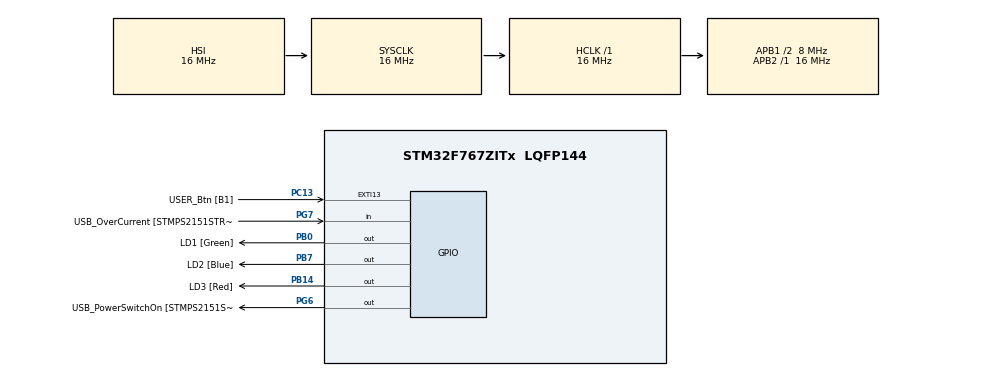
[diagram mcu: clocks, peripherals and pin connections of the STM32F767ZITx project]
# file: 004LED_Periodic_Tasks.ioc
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Mcu.Family=STM32F7
Mcu.Name=STM32F767ZITx
Mcu.Package=LQFP144
NVIC.PriorityGroup=NVIC_PRIORITYGROUP_4
NVIC.TIM6_DAC_IRQn=true\:15\:0\:false\:false\:true\:false\:true\:true
NVIC.TimeBase=TIM6_DAC_IRQn
NVIC.TimeBaseIP=TIM6
PA1.GPIO_Label=RMII_REF_CLK [LAN8742A-CZ-TR_REFCLK0]
PA1.Signal=ETH_REF_CLK
PA10.GPIO_Label=USB_ID
PA10.Signal=USB_OTG_FS_ID
PA11.GPIO_Label=USB_DM
PA11.Signal=USB_OTG_FS_DM
PA12.GPIO_Label=USB_DP
PA12.Signal=USB_OTG_FS_DP
PA13.GPIO_Label=TMS
PA13.Signal=SYS_JTMS-SWDIO
PA14.GPIO_Label=TCK
PA14.Signal=SYS_JTCK-SWCLK
PA2.GPIO_Label=RMII_MDIO [LAN8742A-CZ-TR_MDIO]
PA2.Signal=ETH_MDIO
PA7.GPIO_Label=RMII_CRS_DV [LAN8742A-CZ-TR_CRS_DV]
PA7.Signal=ETH_CRS_DV
PA8.GPIO_Label=USB_SOF [TP1]
PA8.Signal=USB_OTG_FS_SOF
PA9.GPIO_Label=USB_VBUS
PA9.Signal=USB_OTG_FS_VBUS
PB0.GPIO_Label=LD1 [Green]
PB0.Signal=GPIO_Output
PB13.GPIO_Label=RMII_TXD1 [LAN8742A-CZ-TR_TXD1]
PB13.Signal=ETH_TXD1
PB14.GPIO_Label=LD3 [Red]
PB14.Signal=GPIO_Output
PB3.GPIO_Label=SW0
PB3.Signal=SYS_JTDO-SWO
PB7.GPIO_Label=LD2 [Blue]
PB7.Signal=GPIO_Output
PC1.GPIO_Label=RMII_MDC [LAN8742A-CZ-TR_MDC]
PC1.Signal=ETH_MDC
PC13.GPIO_Label=USER_Btn [B1]
PC13.Signal=GPXTI13
PC14/OSC32_IN.Signal=RCC_OSC32_IN
PC15/OSC32_OUT.Signal=RCC_OSC32_OUT
PC4.GPIO_Label=RMII_RXD0 [LAN8742A-CZ-TR_RXD0]
PC4.Signal=ETH_RXD0
PC5.GPIO_Label=RMII_RXD1 [LAN8742A-CZ-TR_RXD1]
PC5.Signal=ETH_RXD1
PD8.GPIO_Label=STLK_RX [STM32F103CBT6_PA3]
PD8.Signal=USART3_TX
PD9.GPIO_Label=STLK_TX [STM32F103CBT6_PA2]
PD9.Signal=USART3_RX
PG11.GPIO_Label=RMII_TX_EN [LAN8742A-CZ-TR_TXEN]
PG11.Signal=ETH_TX_EN
PG13.GPIO_Label=RMII_TXD0 [LAN8742A-CZ-TR_TXD0]
PG13.Signal=ETH_TXD0
PG6.GPIO_Label=USB_PowerSwitchOn [STMPS2151STR_EN]
PG6.Signal=GPIO_Output
PG7.GPIO_Label=USB_OverCurrent [STMPS2151STR_FAULT]
PG7.Signal=GPIO_Input
PH0/OSC_IN.GPIO_Label=MCO [STM32F103CBT6_PA8]
PH0/OSC_IN.Signal=RCC_OSC_IN
PH1/OSC_OUT.Signal=RCC_OSC_OUT
ProjectManager.HeapSize=0x200
ProjectManager.StackSize=0x400
ProjectManager.TargetToolchain=STM32CubeIDE
RCC.48MHZClocksFreq_Value=24000000
RCC.AHBFreq_Value=16000000
RCC.APB1CLKDivider=RCC_HCLK_DIV2
RCC.APB1Freq_Value=8000000
RCC.APB1TimFreq_Value=16000000
RCC.APB2Freq_Value=16000000
RCC.APB2TimFreq_Value=16000000
RCC.CortexFreq_Value=16000000
RCC.HCLKFreq_Value=16000000
RCC.HSE_VALUE=16000000
RCC.HSI_VALUE=16000000
RCC.LSE_VALUE=32768
RCC.PLLMUL=RCC_PLL_MUL9
RCC.PRESCALERUSB=RCC_USBCLKSOURCE_PLL_DIV1_5
RCC.SYSCLKFreq_VALUE=16000000
RCC.SYSCLKSourceVirtual=RCC_SYSCLKSOURCE_PLLCLK
RCC.USBFreq_Value=96000000
RCC.VCOOutputFreq_Value=192000000
VP_SYS_VS_tim6.Mode=TIM6
board=NUCLEO-F767ZI

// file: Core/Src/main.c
/* USER CODE BEGIN Header */
/**
  ******************************************************************************
  * @file           : main.c
  * @brief          : Main program body
  ******************************************************************************
  * @attention
  *
  * Copyright (c) 2024 STMicroelectronics.
  * All rights reserved.
  *
  * This software is licensed under terms that can be found in the LICENSE file
  * in the root directory of this software component.
  * If no LICENSE file comes with this software, it is provided AS-IS.
  *
  ******************************************************************************
  */
/* USER CODE END Header */
#include "main.h"

/* USER CODE BEGIN Includes */
#include "FreeRTOS.h"
#include "task.h"
#include <stdio.h>
/* USER CODE END Includes */

/* USER CODE BEGIN PV */
#define DWT_CTRL	(*(volatile uint32_t*)0xE0001000)
/* USER CODE END PV */

void SystemClock_Config(void);
static void MX_GPIO_Init(void);
/* USER CODE BEGIN PFP */
static void led_green_handler(void* parameters);
static void led_red_handler(void* parameters);
static void led_blue_handler(void* parameters);
/* USER CODE END PFP */

int main(void)
{

  /* MCU Configuration--------------------------------------------------------*/

  /* Reset of all peripherals, Initializes the Flash interface and the Systick. */
  HAL_Init();

  /* USER CODE BEGIN Init */
  TaskHandle_t led_green_handle;
  TaskHandle_t led_red_handle;
  TaskHandle_t led_blue_handle;

  BaseType_t status;
  /* USER CODE END Init */

  /* Configure the system clock */
  SystemClock_Config();

  /* Initialize all configured peripherals */
  MX_GPIO_Init();
  /* USER CODE BEGIN 2 */
  // Enable the CYCCNT counter
    CoreDebug->DEMCR |= CoreDebug_DEMCR_TRCENA_Msk;

    DWT->LAR = 0xC5ACCE55;

    DWT->CYCCNT = 0;

    DWT->CTRL |= DWT_CTRL_CYCCNTENA_Msk;

  // Start the SEGGER recorder
  SEGGER_SYSVIEW_Conf();
  SEGGER_SYSVIEW_Start();

  printf("BEGINNING RTOS!\n");

  status = xTaskCreate(led_green_handler, "LED_green_task", 200, "Hello World from LED_green_task", 2, &led_green_handle);
  configASSERT(status == pdPASS);

  status = xTaskCreate(led_red_handler, "LED_red_task", 200, "Hello World from LED_red_task", 2, &led_red_handle);
  configASSERT(status == pdPASS);

  status = xTaskCreate(led_blue_handler, "LED_blue_task", 200, "Hello World from LED_blue_task", 2, &led_blue_handle);
  configASSERT(status == pdPASS);

  // Start the freeRTOS scheduler
  vTaskStartScheduler();

  //if the control comes here, then the launch of the scheduler has failed due to insufficient memory in heap
  printf("INSUFFUCIENT MEMORY IN HEAP!\n");
  /* USER CODE END 2 */

  /* Infinite loop */
  while (1)
  {

  }
}

void SystemClock_Config(void)
{
  RCC_OscInitTypeDef RCC_OscInitStruct = {0};
  RCC_ClkInitTypeDef RCC_ClkInitStruct = {0};

  /** Configure the main internal regulator output voltage
  */
  __HAL_RCC_PWR_CLK_ENABLE();
  __HAL_PWR_VOLTAGESCALING_CONFIG(PWR_REGULATOR_VOLTAGE_SCALE3);

  /** Initializes the RCC Oscillators according to the specified parameters
  * in the RCC_OscInitTypeDef structure.
  */
  RCC_OscInitStruct.OscillatorType = RCC_OSCILLATORTYPE_HSI;
  RCC_OscInitStruct.HSIState = RCC_HSI_ON;
  RCC_OscInitStruct.HSICalibrationValue = RCC_HSICALIBRATION_DEFAULT;
  RCC_OscInitStruct.PLL.PLLState = RCC_PLL_NONE;
  if (HAL_RCC_OscConfig(&RCC_OscInitStruct) != HAL_OK)
  {
    Error_Handler();
  }

  /** Initializes the CPU, AHB and APB buses clocks
  */
  RCC_ClkInitStruct.ClockType = RCC_CLOCKTYPE_HCLK|RCC_CLOCKTYPE_SYSCLK
                              |RCC_CLOCKTYPE_PCLK1|RCC_CLOCKTYPE_PCLK2;
  RCC_ClkInitStruct.SYSCLKSource = RCC_SYSCLKSOURCE_HSI;
  RCC_ClkInitStruct.AHBCLKDivider = RCC_SYSCLK_DIV1;
  RCC_ClkInitStruct.APB1CLKDivider = RCC_HCLK_DIV2;
  RCC_ClkInitStruct.APB2CLKDivider = RCC_HCLK_DIV1;

  if (HAL_RCC_ClockConfig(&RCC_ClkInitStruct, FLASH_LATENCY_0) != HAL_OK)
  {
    Error_Handler();
  }
}

static void MX_GPIO_Init(void)
{
  GPIO_InitTypeDef GPIO_InitStruct = {0};

  /* GPIO Ports Clock Enable */
  __HAL_RCC_GPIOC_CLK_ENABLE();
  __HAL_RCC_GPIOH_CLK_ENABLE();
  __HAL_RCC_GPIOA_CLK_ENABLE();
  __HAL_RCC_GPIOB_CLK_ENABLE();
  __HAL_RCC_GPIOD_CLK_ENABLE();
  __HAL_RCC_GPIOG_CLK_ENABLE();

  /*Configure GPIO pin Output Level */
  HAL_GPIO_WritePin(GPIOB, LD1_Pin|LD3_Pin|LD2_Pin, GPIO_PIN_RESET);

  /*Configure GPIO pin Output Level */
  HAL_GPIO_WritePin(USB_PowerSwitchOn_GPIO_Port, USB_PowerSwitchOn_Pin, GPIO_PIN_RESET);

  /*Configure GPIO pin : USER_Btn_Pin */
  GPIO_InitStruct.Pin = USER_Btn_Pin;
  GPIO_InitStruct.Mode = GPIO_MODE_IT_RISING;
  GPIO_InitStruct.Pull = GPIO_NOPULL;
  HAL_GPIO_Init(USER_Btn_GPIO_Port, &GPIO_InitStruct);

  /*Configure GPIO pins : RMII_MDC_Pin RMII_RXD0_Pin RMII_RXD1_Pin */
  GPIO_InitStruct.Pin = RMII_MDC_Pin|RMII_RXD0_Pin|RMII_RXD1_Pin;
  GPIO_InitStruct.Mode = GPIO_MODE_AF_PP;
  GPIO_InitStruct.Pull = GPIO_NOPULL;
  GPIO_InitStruct.Speed = GPIO_SPEED_FREQ_VERY_HIGH;
  GPIO_InitStruct.Alternate = GPIO_AF11_ETH;
  HAL_GPIO_Init(GPIOC, &GPIO_InitStruct);

  /*Configure GPIO pins : RMII_REF_CLK_Pin RMII_MDIO_Pin RMII_CRS_DV_Pin */
  GPIO_InitStruct.Pin = RMII_REF_CLK_Pin|RMII_MDIO_Pin|RMII_CRS_DV_Pin;
  GPIO_InitStruct.Mode = GPIO_MODE_AF_PP;
  GPIO_InitStruct.Pull = GPIO_NOPULL;
  GPIO_InitStruct.Speed = GPIO_SPEED_FREQ_VERY_HIGH;
  GPIO_InitStruct.Alternate = GPIO_AF11_ETH;
  HAL_GPIO_Init(GPIOA, &GPIO_InitStruct);

  /*Configure GPIO pins : LD1_Pin LD3_Pin LD2_Pin */
  GPIO_InitStruct.Pin = LD1_Pin|LD3_Pin|LD2_Pin;
  GPIO_InitStruct.Mode = GPIO_MODE_OUTPUT_PP;
  GPIO_InitStruct.Pull = GPIO_NOPULL;
  GPIO_InitStruct.Speed = GPIO_SPEED_FREQ_LOW;
  HAL_GPIO_Init(GPIOB, &GPIO_InitStruct);

  /*Configure GPIO pin : RMII_TXD1_Pin */
  GPIO_InitStruct.Pin = RMII_TXD1_Pin;
  GPIO_InitStruct.Mode = GPIO_MODE_AF_PP;
  GPIO_InitStruct.Pull = GPIO_NOPULL;
  GPIO_InitStruct.Speed = GPIO_SPEED_FREQ_VERY_HIGH;
  GPIO_InitStruct.Alternate = GPIO_AF11_ETH;
  HAL_GPIO_Init(RMII_TXD1_GPIO_Port, &GPIO_InitStruct);

  /*Configure GPIO pins : STLK_RX_Pin STLK_TX_Pin */
  GPIO_InitStruct.Pin = STLK_RX_Pin|STLK_TX_Pin;
  GPIO_InitStruct.Mode = GPIO_MODE_AF_PP;
  GPIO_InitStruct.Pull = GPIO_NOPULL;
  GPIO_InitStruct.Speed = GPIO_SPEED_FREQ_VERY_HIGH;
  GPIO_InitStruct.Alternate = GPIO_AF7_USART3;
  HAL_GPIO_Init(GPIOD, &GPIO_InitStruct);

  /*Configure GPIO pin : USB_PowerSwitchOn_Pin */
  GPIO_InitStruct.Pin = USB_PowerSwitchOn_Pin;
  GPIO_InitStruct.Mode = GPIO_MODE_OUTPUT_PP;
  GPIO_InitStruct.Pull = GPIO_NOPULL;
  GPIO_InitStruct.Speed = GPIO_SPEED_FREQ_LOW;
  HAL_GPIO_Init(USB_PowerSwitchOn_GPIO_Port, &GPIO_InitStruct);

  /*Configure GPIO pin : USB_OverCurrent_Pin */
  GPIO_InitStruct.Pin = USB_OverCurrent_Pin;
  GPIO_InitStruct.Mode = GPIO_MODE_INPUT;
  GPIO_InitStruct.Pull = GPIO_NOPULL;
  HAL_GPIO_Init(USB_OverCurrent_GPIO_Port, &GPIO_InitStruct);

  /*Configure GPIO pins : USB_SOF_Pin USB_ID_Pin USB_DM_Pin USB_DP_Pin */
  GPIO_InitStruct.Pin = USB_SOF_Pin|USB_ID_Pin|USB_DM_Pin|USB_DP_Pin;
  GPIO_InitStruct.Mode = GPIO_MODE_AF_PP;
  GPIO_InitStruct.Pull = GPIO_NOPULL;
  GPIO_InitStruct.Speed = GPIO_SPEED_FREQ_VERY_HIGH;
  GPIO_InitStruct.Alternate = GPIO_AF10_OTG_FS;
  HAL_GPIO_Init(GPIOA, &GPIO_InitStruct);

  /*Configure GPIO pin : USB_VBUS_Pin */
  GPIO_InitStruct.Pin = USB_VBUS_Pin;
  GPIO_InitStruct.Mode = GPIO_MODE_INPUT;
  GPIO_InitStruct.Pull = GPIO_NOPULL;
  HAL_GPIO_Init(USB_VBUS_GPIO_Port, &GPIO_InitStruct);

  /*Configure GPIO pins : RMII_TX_EN_Pin RMII_TXD0_Pin */
  GPIO_InitStruct.Pin = RMII_TX_EN_Pin|RMII_TXD0_Pin;
  GPIO_InitStruct.Mode = GPIO_MODE_AF_PP;
  GPIO_InitStruct.Pull = GPIO_NOPULL;
  GPIO_InitStruct.Speed = GPIO_SPEED_FREQ_VERY_HIGH;
  GPIO_InitStruct.Alternate = GPIO_AF11_ETH;
  HAL_GPIO_Init(GPIOG, &GPIO_InitStruct);

}

/* USER CODE BEGIN 4 */
static void led_green_handler(void* parameters)
{
	char msg[100];
	TickType_t last_wakeup_time;
	last_wakeup_time = xTaskGetTickCount();
	while (1)
	{
		printf("%s\n", (char*)parameters);
		snprintf(msg, 100, "%s\n", (char*)parameters);
		SEGGER_SYSVIEW_PrintfTarget(msg);
		HAL_GPIO_TogglePin(GPIOB, LED_GREEN_PIN);
		vTaskDelayUntil(&last_wakeup_time, pdMS_TO_TICKS(1000));
	}
}

static void led_red_handler(void* parameters)
{
	char msg[100];
	TickType_t last_wakeup_time;
	last_wakeup_time = xTaskGetTickCount();
	while (1)
	{
		printf("%s\n", (char*)parameters);
		snprintf(msg, 100, "%s\n", (char*)parameters);
		SEGGER_SYSVIEW_PrintfTarget(msg);
		HAL_GPIO_TogglePin(GPIOB, LED_RED_PIN);
		vTaskDelayUntil(&last_wakeup_time, pdMS_TO_TICKS(800));
	}
}

static void led_blue_handler(void* parameters)
{
	char msg[100];
	TickType_t last_wakeup_time;
	last_wakeup_time = xTaskGetTickCount();
	while (1)
	{
		printf("%s\n", (char*)parameters);
		snprintf(msg, 100, "%s\n", (char*)parameters);
		SEGGER_SYSVIEW_PrintfTarget(msg);
		HAL_GPIO_TogglePin(GPIOB, LED_BLUE_PIN);
		vTaskDelayUntil(&last_wakeup_time, pdMS_TO_TICKS(400));
	}
}
/* USER CODE END 4 */

void HAL_TIM_PeriodElapsedCallback(TIM_HandleTypeDef *htim)
{
  if (htim->Instance == TIM6) {
    HAL_IncTick();
  }
}

void Error_Handler(void)
{
  __disable_irq();
  while (1)
  {
  }
}
